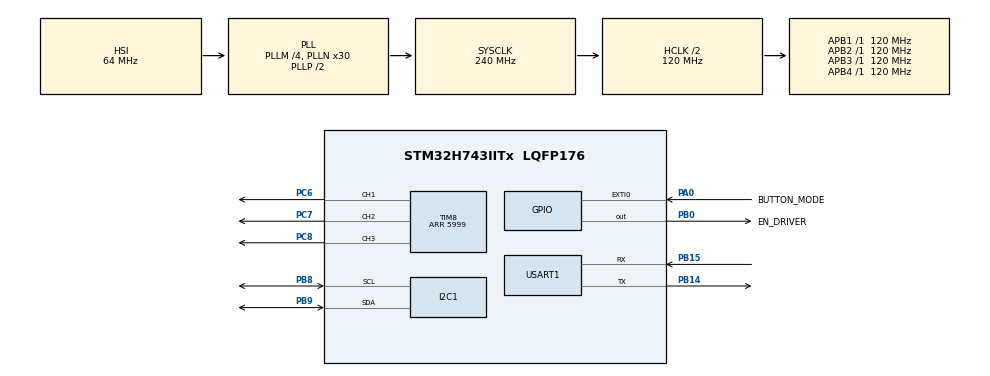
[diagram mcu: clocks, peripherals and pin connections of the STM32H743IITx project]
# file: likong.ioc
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CORTEX_M7.default_mode_Activation=1
I2C1.Timing=0x13904A4E
Mcu.Family=STM32H7
Mcu.Name=STM32H743IITx
Mcu.Package=LQFP176
NVIC.EXTI0_IRQn=true\:0\:0\:false\:false\:true\:true\:true\:true
NVIC.PriorityGroup=NVIC_PRIORITYGROUP_4
NVIC.TIM2_IRQn=true\:0\:0\:false\:false\:true\:true\:true\:true
PB0.GPIO_Label=EN_DRIVER
PB0.GPIO_PuPd=GPIO_NOPULL
PB0.Signal=GPIO_Output
PB14.Mode=Asynchronous
PB14.Signal=USART1_TX
PB15.Mode=Asynchronous
PB15.Signal=USART1_RX
PB8.Mode=I2C
PB8.Signal=I2C1_SCL
PB9.Mode=I2C
PB9.Signal=I2C1_SDA
PA0.GPIO_Label=BUTTON_MODE
PA0.GPIO_ModeDefaultEXTI=GPIO_MODE_IT_FALLING
PA0.GPIO_PuPd=GPIO_PULLUP
PA0.Signal=GPXTI0
PC6.Signal=S_TIM8_CH1
PC7.Signal=S_TIM8_CH2
PC8.Signal=S_TIM8_CH3
ProjectManager.HeapSize=0x200
ProjectManager.StackSize=0x1000
ProjectManager.TargetToolchain=CMake
RCC.ADCFreq_Value=129000000
RCC.APB1Freq_Value=120000000
RCC.APB2Freq_Value=120000000
RCC.APB3Freq_Value=120000000
RCC.APB4Freq_Value=120000000
RCC.CortexFreq_Value=240000000
RCC.DIVM1=4
RCC.DIVN1=30
RCC.HCLKFreq_Value=120000000
RCC.HPRE=RCC_HCLK_DIV2
RCC.PLLFRACN=0
RCC.SYSCLKFreq_VALUE=240000000
RCC.SYSCLKSource=RCC_SYSCLKSOURCE_PLLCLK
RCC.USBFreq_Value=240000000
SH.GPEXTI0.0=GPIO_EXTI0
SH.S_TIM8_CH1.0=TIM8_CH1,PWM Generation1 CH1
SH.S_TIM8_CH2.0=TIM8_CH2,PWM Generation2 CH2
SH.S_TIM8_CH3.0=TIM8_CH3,PWM Generation3 CH3
TIM2.AutoReloadPreload=TIM_AUTORELOAD_PRELOAD_ENABLE
TIM2.Period=999
TIM2.Prescaler=119
TIM8.AutoReloadPreload=TIM_AUTORELOAD_PRELOAD_ENABLE
TIM8.Channel-PWM\ Generation1\ CH1=TIM_CHANNEL_1
TIM8.Channel-PWM\ Generation2\ CH2=TIM_CHANNEL_2
TIM8.Channel-PWM\ Generation3\ CH3=TIM_CHANNEL_3
TIM8.Period=5999
USART1.VirtualMode-Asynchronous=VM_ASYNC
VP_MEMORYMAP_VS_MEMORYMAP.Mode=CurAppReg
VP_TIM2_VS_ClockSourceINT.Mode=Internal
VP_TIM8_VS_ClockSourceINT.Mode=Internal
board=custom

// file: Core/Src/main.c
/* USER CODE BEGIN Header */
/**
  ******************************************************************************
  * @file           : main.c
  * @brief          : 力控旋钮（Force Knob）主程序
  *
  *  硬件：极客/WeAct STM32H743IIT6 核心板（V3）+ SimpleFOC Mini 驱动板
  *         + DFRobot 2804 无刷电机（自带 AS5600，7 对极）
  *
  *  引脚分配（按核心板 V3 原理图排针核对，杜邦线可直接接出）：
  *    ┌─────────────┬──────────────┬──────────────────────────────┐
  *    │ 功能         │ 引脚          │ 说明                          │
  *    ├─────────────┼──────────────┼──────────────────────────────┤
  *    │ PWM 三相     │ PC6/PC7/PC8  │ TIM8_CH1/CH2/CH3 → Mini IN1/2/3│
  *    │ 使能 EN      │ PB0          │ 驱动板 EN，拉高才有力          │
  *    │ 编码器 I2C1  │ PB8(SCL)/PB9(SDA) → AS5600                  │
  *    │ 串口  USART1 │ PB14(TX)/PB15(RX) → CH340                   │
  *    │ 按键(外接)   │ PA0          │ 面包板按键，按下接 GND          │
  *    └─────────────┴──────────────┴──────────────────────────────┘
  *  注意：本板 HSE 晶振用不了，时钟只用内部 HSI 64MHz → PLL → 240MHz。
  *
  * 用法：CubeMX 生成工程后，把各 USER CODE 段内容保留即可（本文件已完整）。
  ******************************************************************************
  */
/* USER CODE END Header */
#include "main.h"

/* USER CODE BEGIN Includes */
#include "gpio.h"
#include "i2c.h"
#include "tim.h"
#include "usart.h"

#include "encoder.h"        /* AS5600 编码器（I2C1，PB8/PB9） */
#include "force_feedback.h" /* 三种手感：段落/阻尼/弹簧 */
#include "button.h"         /* PA0 外接按键切模式 */
#include "foc_math.h"       /* 反 Park/反 Clarke/中心对齐等数学 */
#include <stdio.h>          /* printf / snprintf */
#include <string.h>
#include <math.h>
/* USER CODE END Includes */

/* USER CODE BEGIN PV */

/* ============ 全局运行状态（volatile：中断里写，主循环里读） ============ */
volatile float g_angle    = 0.0f;  /* 机械角 [rad]，1kHz 中断里更新 */
volatile float g_velocity = 0.0f;  /* 角速度 [rad/s]（已 EMA 滤波） */
volatile float g_vq       = 0.0f;  /* 当前输出的 Vq 电压 [V]（显示/调试用） */
volatile int   g_mode     = 0;     /* 模式：0=SPIN自转 1=DETENT步进 2=ENDSTOP边界 */

/* ============ 关键参数 ============ */
#define VDC_VOLTAGE   12.0f    /* 母线电压 [V]，必须和实际 12V 供电一致 */
#define TIM8_ARR      5999.0f  /* TIM8 自动重装载值：
                                *  TIM8 时钟 = 120MHz，120M/6000 = 20kHz PWM
                                *  （改 TIM8 分频/周期时这里要跟着改） */
#define ALIGN_VOLTAGE 1.5f     /* 上电对齐电压 [V]，别超过 2V（2804 相阻 2.3Ω） */
#define ALIGN_TIME_MS 800      /* 对齐保持时间 [ms] */

/* ---- 模式 0 = SPIN 自转 参数 ----
 * 开路旋转：让磁场匀速旋转，电机跟着转（0.5 圈/秒）。
 * 用途：演示/测试驱动链路。 */
#define CONTROL_DT     0.001f                            /* 控制周期 1ms */
#define SPIN_TEST_VQ   2.5f                              /* 自转电压，别太大 */
#define SPIN_OMEGA_ELEC (2.0f * _PI * 0.5f * POLE_PAIRS) /* 电场转速 = 0.5转/秒 × 极对数 */
static float spin_theta = 0.0f;                          /* 电场旋转角 */

/* USER CODE END PV */

void SystemClock_Config(void);
void MX_GPIO_Init(void);
void MX_I2C1_Init(void);
void MX_TIM2_Init(void);
void MX_TIM8_Init(void);
void MX_USART1_UART_Init(void);
static void MX_CORTEX_M7_Init(void);   /* 定义在 main.c 末尾，用 static 即可 */

/* USER CODE BEGIN 0 */

/* ---------------------------------------------------------------
 * 1kHz 控制环中断回调
 * ---------------------------------------------------------------
 * CubeMX 在 stm32h7xx_it.c 里调用 HAL_TIM_IRQHandler(&htim2)，
 * 最终会走到这个回调。这里用强定义覆盖 HAL 的 __weak 版本。
 * 每 1ms 执行一次：
 *   读编码器 → 算速度 → 按模式算目标力矩 → 换算 Vq → FOC 变三相占空比
 */
void HAL_TIM_PeriodElapsedCallback(TIM_HandleTypeDef *htim)
{
    if (htim->Instance == TIM2)
    {
        /* 1. 读 AS5600 角度（+内部做跨圈跟踪和速度 EMA 滤波） */
        encoder_update();
        g_angle    = encoder_get_angle();     /* 机械角 [rad] */
        g_velocity = encoder_get_velocity();  /* 角速度 [rad/s] */

        /* 2. 算 Vq + 反 Park：
         *    模式 0 = SPIN 自转：用固定 Vq 让磁场匀速旋转（spin_theta 一直加），
         *                        电机开路跟着转，不依赖编码器。
         *    模式 1/2 = DETENT/ENDSTOP：力反馈算 Vq，电气角 = 机械角×极对数。 */
        float valpha, vbeta;
        if (g_mode == 0)
        {
            spin_theta += SPIN_OMEGA_ELEC * CONTROL_DT;
            g_vq = SPIN_TEST_VQ;
            inv_park_transform(0.0f, g_vq, spin_theta, &valpha, &vbeta);
        }
        else
        {
            g_vq = force_feedback_compute(g_angle, g_velocity, g_mode);
            inv_park_transform(0.0f, g_vq, g_angle * POLE_PAIRS, &valpha, &vbeta);
        }

        float va, vb, vc;
        inv_clarke(valpha, vbeta, &va, &vb, &vc);
        center_align(&va, &vb, &vc, VDC_VOLTAGE);   /* 注入零序，钳位 ±VDC/2 */

        /* 3. 相电压 → 占空比（0~1）→ 直写 CCR（最快，不经过 HAL） */
        float da, db, dc;
        voltage_to_duty(va, vb, vc, VDC_VOLTAGE, &da, &db, &dc);

        TIM8->CCR1 = (uint32_t)(da * TIM8_ARR);
        TIM8->CCR2 = (uint32_t)(db * TIM8_ARR);
        TIM8->CCR3 = (uint32_t)(dc * TIM8_ARR);
    }
}

/* ---------------------------------------------------------------
 * 上电电机对齐（alignment）
 * ---------------------------------------------------------------
 * 没有这步，编码器零点和转子真实位置错位 → 力矩方向偏、电机发烫、手感乱。
 * 做法：A 相加 1.5V 保持 800ms，让转子被磁场吸到电气零度，
 *       然后把编码器清零。上电时电机"咔"地转一下是正常现象。
 */
static void motor_align(void)
{
    /* A 相占空比 = 0.5 + 1.5/12 = 0.625，B/C 相 = 0.5（零序，不产生净电压）
     * 这样 A 相对中性点电压 = (0.625-0.5)*12V = +1.5V */
    float duty = ALIGN_VOLTAGE / VDC_VOLTAGE + 0.5f;

    TIM8->CCR1 = (uint32_t)(duty   * TIM8_ARR);
    TIM8->CCR2 = (uint32_t)(0.5f   * TIM8_ARR);
    TIM8->CCR3 = (uint32_t)(0.5f   * TIM8_ARR);
    HAL_Delay(ALIGN_TIME_MS);

    encoder_reset_zero();          /* 当前位置记为机械角 0 */

    TIM8->CCR1 = 0; TIM8->CCR2 = 0; TIM8->CCR3 = 0;   /* 复位占空比 */
    HAL_Delay(50);
}

/* ---------------------------------------------------------------
 * printf 重定向到 USART1（CH340 串口）
 * ---------------------------------------------------------------
 * 新库链路：printf → _write(syscalls.c) → __io_putchar(本函数) → UART
 * 注意：本工程用的是 newlib-nano，默认不带浮点 %f！
 *       已在顶层 CMakeLists.txt 加了 -u _printf_float，别删。
 */
#ifdef __GNUC__
  #define PUTCHAR_PROTOTYPE int __io_putchar(int ch)
#else
  #define PUTCHAR_PROTOTYPE int fputc(int ch, FILE *f)
#endif

PUTCHAR_PROTOTYPE
{
    HAL_UART_Transmit(&huart1, (uint8_t*)&ch, 1, 10);
    return ch;
}
/* USER CODE END 0 */

int main(void)
{

  /* MCU Configuration--------------------------------------------------------*/

  /* Reset of all peripherals, Initializes the Flash interface and the Systick. */
  HAL_Init();

  /* Configure the system clock */
  SystemClock_Config();

  /* Initialize all configured peripherals */
  MX_GPIO_Init();
  MX_I2C1_Init();
  MX_TIM2_Init();
  MX_TIM8_Init();
  MX_USART1_UART_Init();
  MX_CORTEX_M7_Init();
  /* USER CODE BEGIN 2 */
    /* ---- 用户外设初始化 ---- */
    encoder_init();         /* 编码器清零 */
    button_init();          /* 按键标志复位 */
    force_feedback_init();  /* 手感参数复位（弹簧零点清零） */

    /* 启动 TIM8 三路 PWM（初始占空比 0，安全）
     * 注意：TIM8 是高级定时器，HAL_TIM_PWM_Start 会自动打开主输出使能 MOE */
    HAL_TIM_PWM_Start(&htim8, TIM_CHANNEL_1);
    HAL_TIM_PWM_Start(&htim8, TIM_CHANNEL_2);
    HAL_TIM_PWM_Start(&htim8, TIM_CHANNEL_3);

    /* 关键！使能电机驱动：EN 拉高。
     * SimpleFOC Mini 的 DRV8313，EN 不拉高三相输出就是高阻，电机永远无力。
     * （PB0 上还并联了板上蓝色 LED，可当"驱动已使能"指示灯看） */
    HAL_GPIO_WritePin(EN_DRIVER_GPIO_Port, EN_DRIVER_Pin, GPIO_PIN_SET);
    HAL_Delay(50);

    motor_align();          /* 对齐 + 清编码器零点（上电"咔"一声正常） */

    /* 启动 TIM2 1kHz 控制环中断 */
    HAL_TIM_Base_Start_IT(&htim2);

    uint32_t debug_tick = 0;   /* 串口打印计时 */
  /* USER CODE END 2 */

  /* Infinite loop */
  while (1)
  {

    /* USER CODE BEGIN 3 */
        /* ---- 按键切换模式（0=SPIN自转 → 1=DETENT步进 → 2=ENDSTOP边界 → 0）---- */
        if (button_get_flag())
        {
            button_clear_flag();
            g_mode = (g_mode + 1) % 3;
            printf(">> BTN pressed, mode=%d\r\n", g_mode);   /* 调试：确认按键触发 */
        }

        /* ---- 串口调试输出（10Hz）---- */
        if (HAL_GetTick() - debug_tick >= 100)
        {
            debug_tick = HAL_GetTick();
            printf("M:%d(%s) A:%.3f V:%.3f Vq:%.3f\r\n",
                   g_mode, force_feedback_get_mode_name(g_mode),
                   g_angle, g_velocity, g_vq);
        }
    /* USER CODE END 3 */
  }
  /* USER CODE END 4 */
}

void SystemClock_Config(void)
{
  RCC_OscInitTypeDef RCC_OscInitStruct = {0};
  RCC_ClkInitTypeDef RCC_ClkInitStruct = {0};

  /** Supply configuration update enable（用内部 LDO） */
  HAL_PWREx_ConfigSupply(PWR_LDO_SUPPLY);

  /** 主稳压器电压档 VOS1（对应 240MHz，CubeMX 自动算） */
  __HAL_PWR_VOLTAGESCALING_CONFIG(PWR_REGULATOR_VOLTAGE_SCALE1);

  while(!__HAL_PWR_GET_FLAG(PWR_FLAG_VOSRDY)) {}

  /** 振荡器：只用 HSI，不开 HSE（板上晶振不工作） */
  RCC_OscInitStruct.OscillatorType = RCC_OSCILLATORTYPE_HSI;
  RCC_OscInitStruct.HSIState = RCC_HSI_ON;
  RCC_OscInitStruct.HSICalibrationValue = RCC_HSICALIBRATION_DEFAULT;
  RCC_OscInitStruct.PLL.PLLState = RCC_PLL_ON;
  RCC_OscInitStruct.PLL.PLLSource = RCC_PLLSOURCE_HSI;
  RCC_OscInitStruct.PLL.PLLM = 4;      /* 64/4  = 16MHz  PLL 输入 */
  RCC_OscInitStruct.PLL.PLLN = 30;     /* 16*30 = 480MHz VCO */
  RCC_OscInitStruct.PLL.PLLP = 2;      /* 480/2 = 240MHz 系统主频 */
  RCC_OscInitStruct.PLL.PLLQ = 2;      /* 480/2 = 240MHz（外设时钟用） */
  RCC_OscInitStruct.PLL.PLLR = 2;      /* 480/2 = 240MHz */
  RCC_OscInitStruct.PLL.PLLRGE = RCC_PLL1VCIRANGE_3;  /* 8~16MHz 输入档 */
  RCC_OscInitStruct.PLL.PLLVCOSEL = RCC_PLL1VCOWIDE;  /* VCO 480MHz 宽档 */
  RCC_OscInitStruct.PLL.PLLFRACN = 0;
  if (HAL_RCC_OscConfig(&RCC_OscInitStruct) != HAL_OK)
  {
    Error_Handler();
  }

  /** CPU/AHB/APB 总线分频 */
  RCC_ClkInitStruct.ClockType = RCC_CLOCKTYPE_HCLK|RCC_CLOCKTYPE_SYSCLK
                              |RCC_CLOCKTYPE_PCLK1|RCC_CLOCKTYPE_PCLK2;
  RCC_ClkInitStruct.SYSCLKSource = RCC_SYSCLKSOURCE_PLLCLK;
  RCC_ClkInitStruct.AHBCLKDivider = RCC_SYSCLK_DIV2;   /* 240/2 = 120MHz HCLK */
  RCC_ClkInitStruct.APB1CLKDivider = RCC_HCLK_DIV1;    /* 120MHz APB1 */
  RCC_ClkInitStruct.APB2CLKDivider = RCC_HCLK_DIV1;    /* 120MHz APB2 */
  RCC_ClkInitStruct.APB3CLKDivider = RCC_HCLK_DIV1;
  RCC_ClkInitStruct.APB4CLKDivider = RCC_HCLK_DIV1;

  if (HAL_RCC_ClockConfig(&RCC_ClkInitStruct, FLASH_LATENCY_4) != HAL_OK)
  {
    Error_Handler();
  }
}

/**
  * @brief  Cortex M7 Cache 初始化（H7 默认全关，打开后 sinf/cosf 等更快）
  * @retval None
  * 注意：以后如果加 DMA/外设直接内存访问，要注意 D-Cache 一致性
  *       （CubeMX 生成内容，保持不动）。
  */
static void MX_CORTEX_M7_Init(void)
{
  /* Enable the I-Cache */
  SCB_EnableICache();

  /* Enable the D-Cache */
  SCB_EnableDCache();
}

void Error_Handler(void)
{
  __disable_irq();
  while (1)
  {
  }
}
